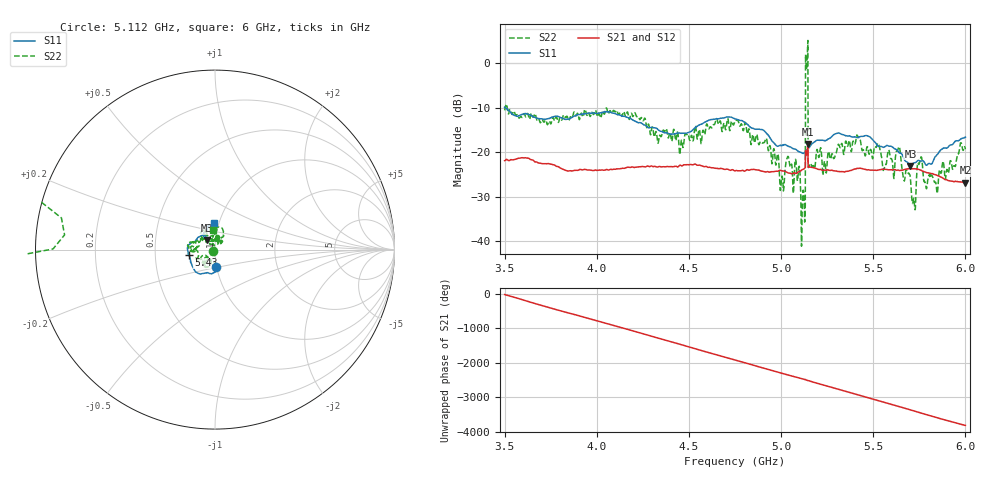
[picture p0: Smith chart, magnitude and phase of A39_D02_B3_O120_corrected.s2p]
! Created with skrf 1.9.0 (http://scikit-rf.org).
# Hz S RI R 50.0
!freq ReS11 ImS11 ReS21 ImS21 ReS12 ImS12 ReS22 ImS22
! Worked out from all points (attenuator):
!   1601 points, 3.5 GHz to 6 GHz, reference 50 ohm
!   highest |S21| = -18.13 dB at 5.145 GHz (marker M1); lowest = -26.8 dB at 6 GHz (marker M2)
!   lowest |S11| = -23.1 dB at 5.702 GHz (marker M3), VSWR 1.15, Z = 45.3 + j4.74 ohm
!   |S11| at or under -10 dB: 3.504 GHz to end of sweep
!   |S22| runs from -41.1 to 5.1 dB; largest |S21 - S12| = 0.0014
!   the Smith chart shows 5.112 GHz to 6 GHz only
!   S11 on the Smith chart (normalised r, x): 5.112 GHz: 1.00, -0.20; 5.43 GHz: 0.74, -0.05; 6 GHz: 0.95, +0.29
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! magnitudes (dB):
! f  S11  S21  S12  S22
! 3.5 GHz  -9.9  -21.9  -21.9  -10.6
! 3.917 GHz  -11.5  -23.9  -23.9  -11.2
! 4.334 GHz  -15.0  -23.3  -23.2  -17.7
! 4.75 GHz  -12.5  -24.2  -24.1  -12.9
! 4.928 GHz  -16.0  -24.3  -24.3  -19.1
! 5.005 GHz  -18.4  -24.2  -24.2  -25.4
! 5.034 GHz  -18.6  -24.6  -24.5  -21.2
! 5.088 GHz  -19.6  -24.6  -24.6  -26.2
! 5.112 GHz  -20.2  -23.9  -23.9  -38.1
! 5.119 GHz  -20.2  -23.8  -23.8  -28.6
! 5.133 GHz  -19.7  -19.7  -19.6  1.9
! 5.145 GHz  -19.3  -18.1  -18.1  5.1
! 5.159 GHz  -18.5  -23.3  -23.2  -22.7
! 5.167 GHz  -18.1  -23.4  -23.4  -23.1
! 5.43 GHz  -16.5  -23.6  -23.5  -17.2
! 5.584 GHz  -18.6  -23.9  -23.9  -19.4
! 5.638 GHz  -20.0  -24.0  -24.0  -18.9
! 5.702 GHz  -23.1  -23.7  -23.7  -25.9
! 5.72 GHz  -22.4  -23.7  -23.7  -30.3
! 5.752 GHz  -21.9  -23.9  -23.9  -22.3
! 5.841 GHz  -20.8  -25.1  -25.0  -27.1
! 6 GHz  -16.6  -26.8  -26.8  -19.3
